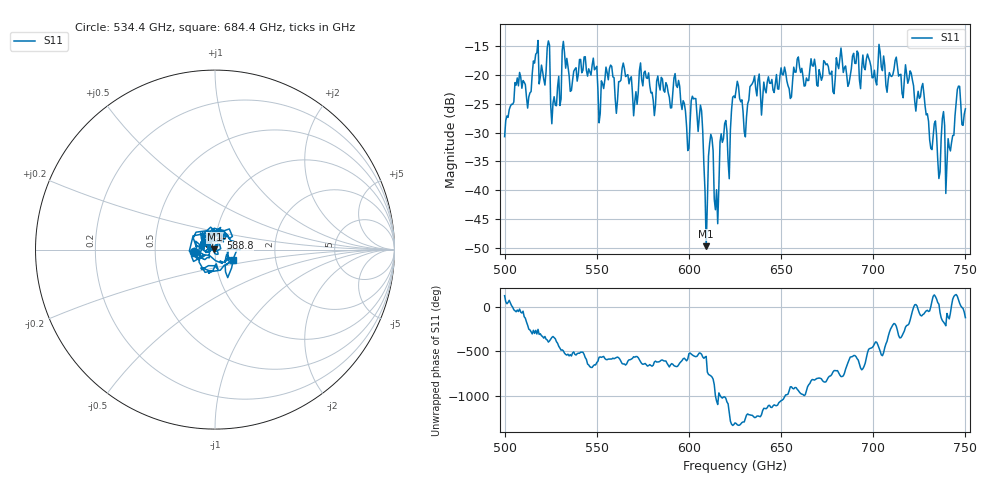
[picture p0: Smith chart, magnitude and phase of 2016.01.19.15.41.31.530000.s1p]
!Created with skrf (http://scikit-rf.org).
# GHz S RI R 50.0
!freq ReS11 ImS11
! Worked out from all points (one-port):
!   401 points, 500 GHz to 750 GHz, reference 50 ohm
!   lowest |S11| = -49.7 dB at 609.4 GHz (marker M1), VSWR 1.01, Z = 49.7 + j0.106 ohm
!   |S11| at or under -10 dB: start of sweep to end of sweep
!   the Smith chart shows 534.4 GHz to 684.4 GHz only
!   S11 on the Smith chart (normalised r, x): 534.4 GHz: 0.79, -0.02; 588.8 GHz: 1.06, +0.13; 684.4 GHz: 1.22, -0.14
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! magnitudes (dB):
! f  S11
! 500 GHz  -30.7
! 516.9 GHz  -16.4
! 523.1 GHz  -15.3
! 526.2 GHz  -24.9
! 531.2 GHz  -15.7
! 534.4 GHz  -18.5
! 562.5 GHz  -21.1
! 588.8 GHz  -23.1
! 593.8 GHz  -22.2
! 599.4 GHz  -33.1
! 602.5 GHz  -24.1
! 606.2 GHz  -25.2
! 609.4 GHz  -49.7
! 611.9 GHz  -30.3
! 615 GHz  -39.9
! 618.1 GHz  -31.7
! 621.9 GHz  -38.0
! 625 GHz  -23.9
! 630.6 GHz  -30.7
! 634.4 GHz  -21.5
! 656.2 GHz  -21.0
! 684.4 GHz  -18.8
! 687.5 GHz  -20.2
! 718.8 GHz  -21.4
! 735.6 GHz  -38.0
! 740.6 GHz  -31.0
! 746.2 GHz  -21.9
! 750 GHz  -25.9
